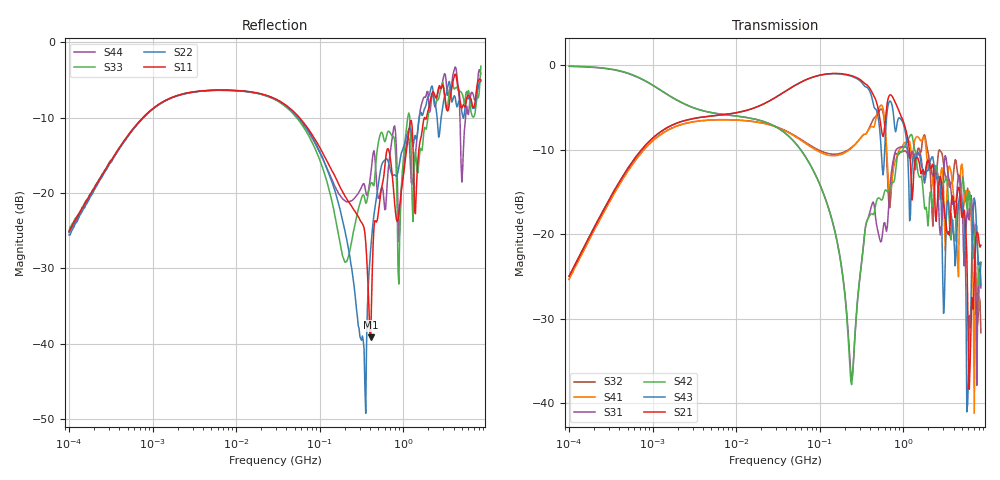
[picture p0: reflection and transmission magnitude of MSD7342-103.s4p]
# MHz S MA R 50
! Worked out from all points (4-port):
!   498 points, 100 kHz to 8.5 GHz, reference 50 ohm
!   strongest paths, dB at 100 kHz, 1.698 MHz, 29.49 MHz, 500.7 MHz, 8.5 GHz:
!     S21: -25.0, -7.1, -3.8, -5.1, -21.3
!     S43: -25.0, -7.1, -3.8, -6.1, -26.0
!     S42: -0.1, -3.7, -7.2, -15.7, -23.4
!     S31: -0.1, -3.8, -7.2, -19.8, -26.4
!     S41: -25.4, -7.4, -7.3, -5.3, -23.3
!     S32: -25.3, -7.4, -7.2, -5.6, -31.7
!   lowest |S11| = -39.1 dB at 407.6 MHz (marker M1), VSWR 1.02, Z = 51.1 - j0.0387 ohm
!   |S11| at or under -10 dB: start of sweep to 768.2 kHz; 56.97 MHz to 1.797 GHz (1.74 GHz wide, 188 % of centre); 1.801 GHz to 1.899 GHz (98.47 MHz wide, 5.32 % of centre)
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0.1  0.05553 80.6  0.05636 83.1  0.9882 -3.4  0.05384 -97.1
     0.05636 83.1  0.0528 82.8  0.05422 -97.7  0.9899 -3.3
     0.9882 -3.4  0.05422 -97.7  0.05595 82.8  0.05641 82.8
     0.05384 -97.1  0.9899 -3.3  0.05641 82.8  0.05467 84.0
20.46327  0.4521 -20.3  0.5858 13.4  0.4683 -28.4  0.4556 154.6
          0.5858 13.4  0.4504 -22.9  0.4564 152.1  0.4683 -28.4
          0.4683 -28.4  0.4564 152.1  0.4485 -22.7  0.5859 13.1
          0.4556 154.6  0.4683 -28.4  0.5859 13.1  0.4492 -20.3
241.0775  0.08172 -67.1  0.8695 -50.2  0.01373 145.6  0.3244 37.7
          0.8695 -50.2  0.03193 -97.4  0.3269 28.1  0.01285 137.8
          0.01373 145.6  0.3269 28.1  0.0481 1.0  0.8616 -54.1
          0.3244 37.7  0.01285 137.8  0.8616 -54.1  0.08883 -33.1
407.6417  0.01109 -2.0  0.7172 -90.9  0.1409 -0.4  0.432 -12.9
          0.7172 -90.9  0.04234 66.3  0.4448 -17.8  0.1314 0.4
          0.1409 -0.4  0.4448 -17.8  0.1157 0.9  0.6812 -100.6
          0.432 -12.9  0.1314 0.4  0.6812 -100.6  0.1323 -21.9
2905.739  0.5081 -17.5  0.1855 -66.0  0.1133 -21.6  0.2476 -64.1
          0.1855 -66.0  0.3427 -0.1  0.3017 -52.8  0.1789 -51.0
          0.1133 -21.6  0.3017 -52.8  0.5261 -30.6  0.1022 -120.5
          0.2476 -64.1  0.1789 -51.0  0.1022 -120.5  0.5194 -14.3
4187.455  0.6135 -174.8  0.1251 160.3  0.155 142.2  0.1341 112.9
          0.1251 160.3  0.4299 -178.3  0.2765 135.5  0.09115 138.5
          0.155 142.2  0.2765 135.5  0.4957 -175.7  0.06493 158.5
          0.1341 112.9  0.09115 138.5  0.06493 158.5  0.6839 172.3
8500  0.5601 -57.3  0.08611 36.6  0.04809 -52.7  0.06827 -32.2
      0.08611 36.6  0.5483 -63.5  0.02605 -52.0  0.06798 -69.7
      0.04809 -52.7  0.02605 -52.0  0.692 -40.7  0.04984 14.6
      0.06827 -32.2  0.06798 -69.7  0.04984 14.6  0.6149 -71.1
